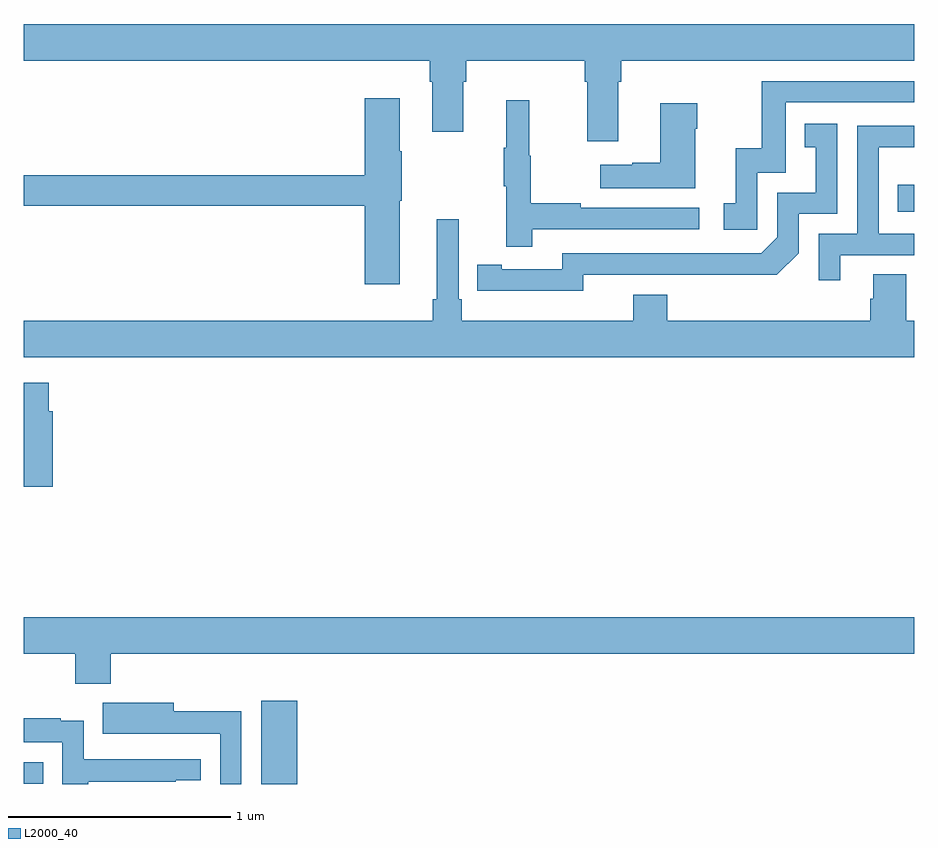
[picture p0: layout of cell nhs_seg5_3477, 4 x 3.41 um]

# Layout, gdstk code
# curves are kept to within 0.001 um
import gdstk
lib = gdstk.Library(unit=1e-6, precision=1e-09)
def R(c, l, rs):  # rectangles x0, y0, x1, y1
    for r in rs: c.add(gdstk.rectangle(r[:2], r[2:], *l))
def P(c, l, *ps):  # polygons
    for p in ps: c.add(gdstk.Polygon(p, *l))
L2000_40 = (2000, 40)

nhs_seg5_3477 = lib.new_cell('nhs_seg5_3477')
R(nhs_seg5_3477, L2000_40, [(316.067,898.799,316.228,899.173), (315,898.8,315.089,898.896), (318.925,901.368,319,901.491)])
P(nhs_seg5_3477, L2000_40, [(317.671,901.952),(317.684,901.952),(317.684,902.048),(319,902.048),(319,902.212),(315,902.212),(315,902.048),(316.823,902.048),(316.823,901.952),(316.835,901.952),(316.835,901.728),(316.975,901.728),(316.975,901.952),(316.988,901.952),(316.988,902.048),(317.519,902.048),(317.519,901.952),(317.531,901.952),(317.531,901.686),(317.671,901.686)],
  [(318.294,901.545),(318.423,901.545),(318.423,901.86),(319,901.86),(319,901.956),(318.315,901.956),(318.315,901.654),(318.197,901.654),(318.197,901.407),(318.144,901.407),(318.144,901.287),(318.294,901.287)],
  [(316.69,901.419),(316.698,901.419),(316.698,901.64),(316.69,901.64),(316.69,901.879),(316.532,901.879),(316.532,901.532),(315,901.532),(315,901.396),(316.532,901.396),(316.532,901.044),(316.69,901.044)],
  [(317.285,901.29),(318.034,901.29),(318.034,901.386),(317.501,901.386),(317.501,901.406),(317.278,901.406),(317.278,901.62),(317.27,901.62),(317.27,901.87),(317.168,901.87),(317.168,901.657),(317.157,901.657),(317.157,901.483),(317.168,901.483),(317.168,901.212),(317.285,901.212)],
  [(318.016,901.742),(318.024,901.742),(318.024,901.855),(317.858,901.855),(317.858,901.589),(317.732,901.589),(317.732,901.579),(317.589,901.579),(317.589,901.475),(318.016,901.475)],
  [(317.514,901.086),(318.382,901.085),(318.48,901.182),(318.48,901.359),(318.654,901.359),(318.654,901.765),(318.508,901.765),(318.508,901.659),(318.557,901.659),(318.557,901.455),(318.384,901.455),(318.384,901.254),(318.312,901.182),(317.418,901.182),(317.418,901.11),(317.146,901.11),(317.146,901.13),(317.038,901.13),(317.038,901.014),(317.514,901.013)],
  [(318.667,901.173),(319,901.173),(319,901.269),(318.84,901.269),(318.84,901.658),(319,901.658),(319,901.755),(318.744,901.755),(318.744,901.269),(318.57,901.269),(318.57,901.062),(318.667,901.062)],
  [(319,900.88),(318.963,900.88),(318.963,901.088),(318.815,901.088),(318.815,900.978),(318.803,900.978),(318.803,900.88),(317.891,900.88),(317.891,900.997),(317.738,900.997),(317.738,900.88),(316.967,900.88),(316.967,900.976),(316.953,900.976),(316.953,901.336),(316.856,901.336),(316.856,900.976),(316.837,900.976),(316.837,900.88),(315,900.88),(315,900.716),(319,900.716)],
  [(315.13,900.474),(315.112,900.474),(315.112,900.601),(315,900.601),(315,900.134),(315.13,900.134)],
  [(315.392,899.384),(319,899.384),(319,899.548),(315,899.548),(315,899.384),(315.232,899.384),(315.232,899.249),(315.392,899.249)],
  [(315.978,899.126),(315.673,899.126),(315.673,899.164),(315.355,899.164),(315.355,899.024),(315.569,899.024),(315.569,899.025),(315.882,899.025),(315.882,898.799),(315.978,898.799)],
  [(315.29,898.81),(315.683,898.81),(315.683,898.815),(315.796,898.815),(315.796,898.911),(315.27,898.911),(315.27,899.083),(315.167,899.083),(315.167,899.095),(315,899.095),(315,898.986),(315.174,898.986),(315.174,898.799),(315.29,898.799)])

lib.write_gds('nhs_seg5_3477.gds')
